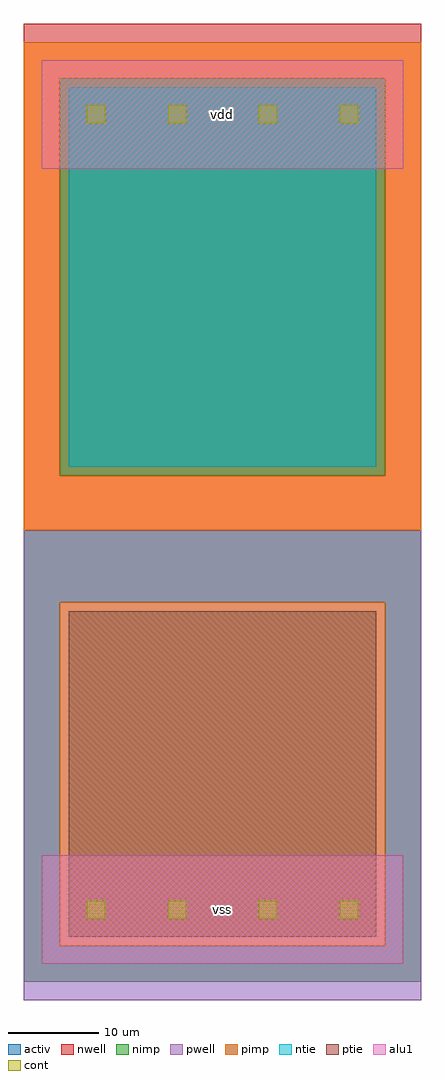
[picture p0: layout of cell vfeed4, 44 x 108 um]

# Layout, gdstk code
import gdstk
lib = gdstk.Library(unit=1e-6, precision=1e-09)
def R(c, l, rs):  # rectangles x0, y0, x1, y1
    for r in rs: c.add(gdstk.rectangle(r[:2], r[2:], *l))
ntie = (5, 0)
ptie = (6, 0)
cont = (25, 0)
pwell = (41, 0)
nwell = (42, 0)
activ = (43, 0)
pimp = (44, 0)
nimp = (45, 0)
alu1 = (49, 0)

vfeed4 = lib.new_cell('vfeed4')
R(vfeed4, ntie, [(3,55,37,97)])
R(vfeed4, ptie, [(3,3,37,39)])
R(vfeed4, cont, [(5,5,7,7), (14,5,16,7), (24,5,26,7), (33,5,35,7), (5,93,7,95), (14,93,16,95), (24,93,26,95), (33,93,35,95)])
R(vfeed4, pwell, [(-2,-4,42,48)])
R(vfeed4, nwell, [(-2,48,42,104)])
R(vfeed4, activ, [(3,3,37,39), (3,55,37,97)])
R(vfeed4, pimp, [(2,2,38,40), (-2,48,42,54), (-2,54,2,98), (38,54,42,98), (-2,98,42,102)])
R(vfeed4, nimp, [(-2,-2,42,2), (-2,2,2,40), (38,2,42,40), (-2,40,42,48), (2,54,38,98)])
R(vfeed4, alu1, [(0,0,40,12), (0,88,40,100)])
vfeed4.add(gdstk.Label('vss', (20,6), layer=49, texttype=0))
vfeed4.add(gdstk.Label('vdd', (20,94), layer=49, texttype=0))

lib.write_gds('vfeed4.gds')
